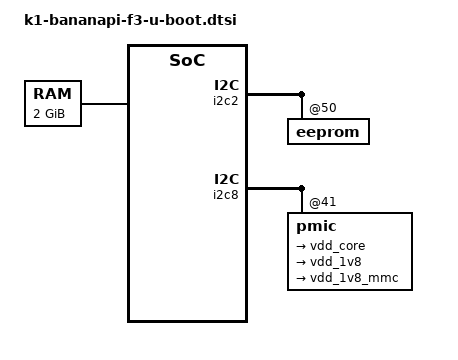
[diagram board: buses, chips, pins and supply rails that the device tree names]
// SPDX-License-Identifier: GPL-2.0+ OR MIT
/*
 * Copyright (C) 2026 RISCstar Ltd.
 */

#include "binman.dtsi"

/ {
	memory@0 {
		device_type = "memory";
		reg = <0x00000000 0x00000000 0x00000000 0x80000000>;
	};
};

&uart0 {
	bootph-pre-ram;
};

&osc_32k {
	bootph-pre-ram;
};

&vctcxo_1m {
	bootph-pre-ram;
};

&vctcxo_3m {
	bootph-pre-ram;
};

&vctcxo_24m {
	bootph-pre-ram;
};

&syscon_mpmu {
	bootph-pre-ram;
};

&pll {
	bootph-pre-ram;
};

&syscon_apmu {
	bootph-pre-ram;
};

&syscon_apbc {
	bootph-pre-ram;
};

&i2c2 {
	bootph-pre-ram;
	resets = <&syscon_apbc RESET_TWSI2>;

	eeprom@50 {
		bootph-pre-ram;
	};
};

/*
 * The kernel pmic@41 nodes use the standard regulator-* properties only;
 * U-Boot's regulator framework looks up suppliers by `regulator-name`.
 * Carry the U-Boot-specific names (vdd_core / vdd_1v8 / vdd_1v8_mmc) here
 * so SPL can program the bucks that DDR training depends on.
 */
&i2c8 {
	bootph-pre-ram;
	resets = <&syscon_apbc RESET_TWSI8>;

	pmic@41 {
		bootph-pre-ram;

		regulators {
			buck1 {
				regulator-name = "vdd_core";
				bootph-pre-ram;
			};

			buck3 {
				regulator-name = "vdd_1v8";
				bootph-pre-ram;
			};

			aldo1 {
				regulator-name = "vdd_1v8_mmc";
				bootph-pre-ram;
			};
		};
	};
};

&binman {
	u-boot-spl-ddr {
		type = "section";
		filename = "u-boot-spl-ddr.bin";
		pad-byte = <0xff>;

		u-boot-spl {
		};

		ddr-fw {
			type = "blob";
			filename = "ddr_fw.bin";
			align = <64>;
		};

		u-boot-any {
			type = "section";
			size = <0>;
			offset = <0>;
		};
	};
};
